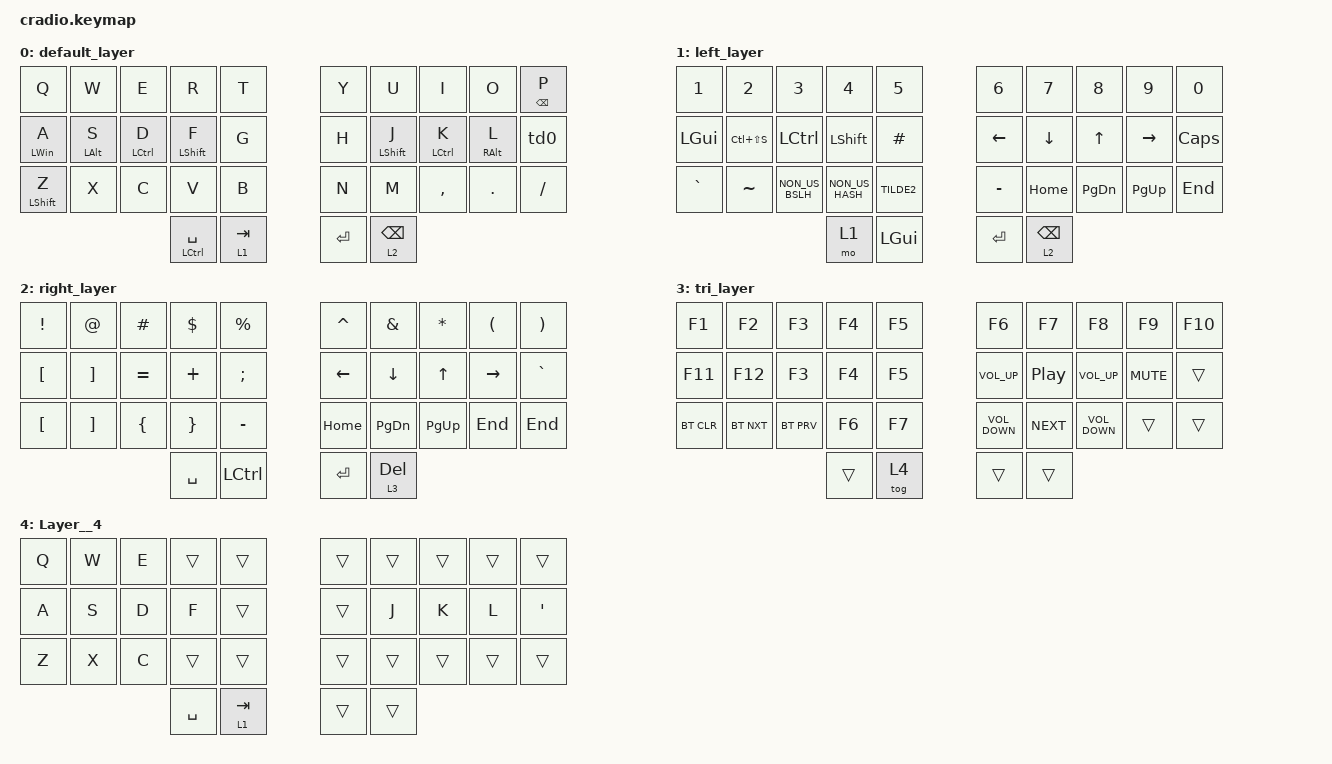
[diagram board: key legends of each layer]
/*
 * Copyright (c) 2020 The ZMK Contributors
 *
 * SPDX-License-Identifier: MIT
 */

#include <behaviors.dtsi>
#include <dt-bindings/zmk/bt.h>
#include <dt-bindings/zmk/keys.h>

&mt {
    flavor = "tap-preferred";
    tapping_term_ms = <200>;
};

/ {
    combos {
        compatible = "zmk,combos";

        combo_esc {
            timeout-ms = <50>;
            key-positions = <0 1>;
            bindings = <&kp ESC>;
        };

        tol4 {
            bindings = <&to 4>;
            key-positions = <30 31>;
        };

        tol1 {
            bindings = <&to 0>;
            key-positions = <32 33>;
        };

        third {
            bindings = <&lt 3 NUMBER_3>;
            key-positions = <33 30>;
        };
    };

    behaviors {
        td0: td0 {
            compatible = "zmk,behavior-tap-dance";
            label = "TD0";
            #binding-cells = <0>;
            bindings = <&kp SINGLE_QUOTE>, <&kp SEMICOLON>;

            tapping-term-ms = <140>;
        };
    };

    keymap {
        compatible = "zmk,keymap";

        default_layer {
            bindings = <
&kp Q           &kp W       &kp E               &kp R                   &kp T      &kp Y    &kp U            &kp I               &kp O            &mt BACKSPACE P
&mt LEFT_WIN A  &mt LALT S  &mt LEFT_CONTROL D  &mt LEFT_SHIFT F        &kp G      &kp H    &mt LSHIFT J     &mt LEFT_CONTROL K  &mt RIGHT_ALT L  &td0
&mt LSHIFT Z    &kp X       &kp C               &kp V                   &kp B      &kp N    &kp M            &kp COMMA           &kp DOT          &kp SLASH
                                                &mt LEFT_CONTROL SPACE  &lt 1 TAB  &kp RET  &lt 2 BACKSPACE
            >;
        };

        left_layer {
            bindings = <
&kp N1        &kp N2         &kp N3            &kp N4           &kp N5      &kp N6     &kp N7           &kp NUMBER_8   &kp N9       &kp N0
&kp LEFT_GUI  &kp LC(LS(S))  &kp LEFT_CONTROL  &kp LEFT_SHIFT   &kp HASH    &kp LEFT   &kp DOWN         &kp UP         &kp RIGHT    &kp CAPS
&kp GRAVE     &kp TILDE      &kp NON_US_BSLH   &kp NON_US_HASH  &kp TILDE2  &kp MINUS  &kp HOME         &kp PAGE_DOWN  &kp PAGE_UP  &kp END
                                               &mo 1            &kp LGUI    &kp ENTER  &lt 2 BACKSPACE
            >;
        };

        right_layer {
            bindings = <
&kp EXCL          &kp AT             &kp HASH        &kp DLLR         &kp PRCNT      &kp CARET  &kp AMPS       &kp STAR     &kp LPAR   &kp RPAR
&kp LEFT_BRACKET  &kp RIGHT_BRACKET  &kp EQUAL       &kp PLUS         &kp SEMICOLON  &kp LEFT   &kp DOWN       &kp UP       &kp RIGHT  &kp GRAVE
&kp LEFT_BRACKET  &kp RIGHT_BRACKET  &kp LEFT_BRACE  &kp RIGHT_BRACE  &kp MINUS      &kp HOME   &kp PAGE_DOWN  &kp PAGE_UP  &kp END    &kp END
                                                     &kp SPACE        &kp LCTRL      &kp ENTER  &lt 3 DELETE
            >;
        };

        tri_layer {
            bindings = <
&kp F1      &kp F2      &kp F3      &kp F4  &kp F5  &kp F6             &kp F7            &kp F8             &kp F9      &kp F10
&kp F11     &kp F12     &kp F3      &kp F4  &kp F5  &kp C_VOL_UP       &kp C_PLAY_PAUSE  &kp K_VOLUME_UP    &kp K_MUTE  &trans
&bt BT_CLR  &bt BT_NXT  &bt BT_PRV  &kp F6  &kp F7  &kp C_VOLUME_DOWN  &kp C_NEXT        &kp K_VOLUME_DOWN  &trans      &trans
                                    &trans  &tog 4  &trans             &trans
            >;
        };

        Layer__4 {
            bindings = <
&kp Q  &kp W  &kp E  &trans     &trans     &trans  &trans  &trans  &trans  &trans
&kp A  &kp S  &kp D  &kp F      &trans     &trans  &kp J   &kp K   &kp L   &kp SINGLE_QUOTE
&kp Z  &kp X  &kp C  &trans     &trans     &trans  &trans  &trans  &trans  &trans
                     &kp SPACE  &lt 1 TAB  &trans  &trans
            >;
        };
    };
};
